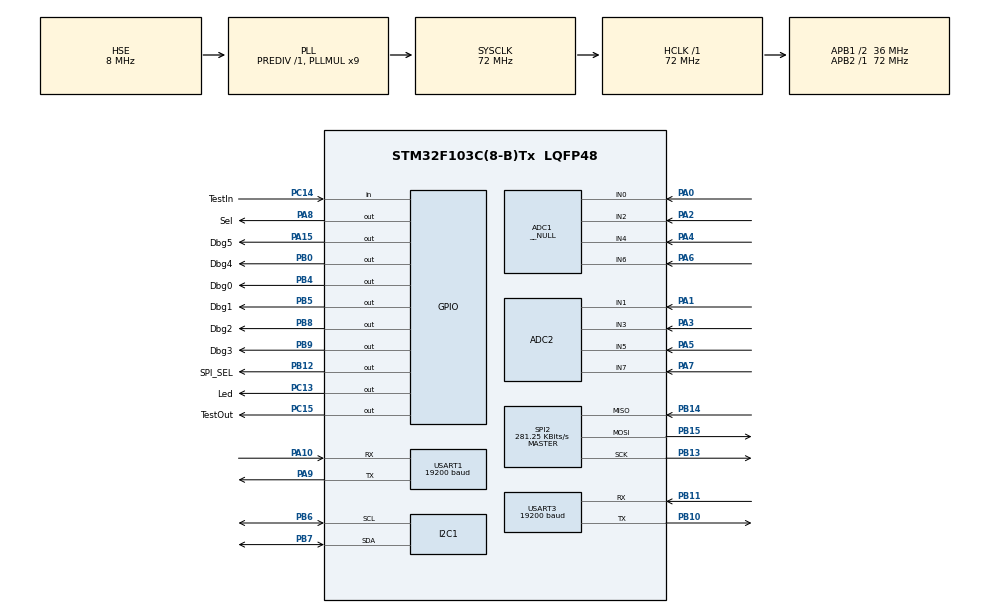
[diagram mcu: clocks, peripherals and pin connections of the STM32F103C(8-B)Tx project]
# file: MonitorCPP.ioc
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ADC1.Channel-4\#ChannelRegularConversion=ADC_CHANNEL_0
ADC1.DiscontinuousConvMode=DISABLE
ADC1.EnableRegularConversion=ENABLE
ADC1.Mode=__NULL
ADC1.NbrOfConversion=1
ADC1.Rank-4\#ChannelRegularConversion=1
ADC1.SamplingTime-4\#ChannelRegularConversion=ADC_SAMPLETIME_1CYCLE_5
ADC1.master=1
ADC2.Channel-4\#ChannelRegularConversion=ADC_CHANNEL_1
ADC2.DiscontinuousConvMode=DISABLE
ADC2.EnableRegularConversion=ENABLE
ADC2.NbrOfConversion=1
ADC2.Rank-4\#ChannelRegularConversion=1
ADC2.SamplingTime-4\#ChannelRegularConversion=ADC_SAMPLETIME_1CYCLE_5
Mcu.Family=STM32F1
Mcu.Name=STM32F103C(8-B)Tx
Mcu.Package=LQFP48
NVIC.ADC1_2_IRQn=true\:0\:0\:false\:false\:false\:true\:false\:true
NVIC.PriorityGroup=NVIC_PRIORITYGROUP_4
NVIC.RTC_IRQn=true\:1\:0\:true\:false\:false\:true\:false\:true
NVIC.TIM1_CC_IRQn=true\:0\:0\:false\:false\:false\:true\:false\:true
NVIC.TIM1_UP_IRQn=true\:5\:0\:true\:false\:false\:true\:false\:true
NVIC.USART3_IRQn=true\:3\:0\:true\:false\:false\:true\:false\:true
PA0-WKUP.Signal=ADCx_IN0
PA1.Signal=ADCx_IN1
PA10.Mode=Asynchronous
PA10.Signal=USART1_RX
PA11.Signal=USB_DM
PA12.Signal=USB_DP
PA13.Mode=Trace_Asynchronous_SW
PA13.Signal=SYS_JTMS-SWDIO
PA14.Mode=Trace_Asynchronous_SW
PA14.Signal=SYS_JTCK-SWCLK
PA15.GPIO_Label=Dbg5
PA15.Signal=GPIO_Output
PA2.Signal=ADCx_IN2
PA3.Signal=ADCx_IN3
PA4.Signal=ADCx_IN4
PA5.Signal=ADCx_IN5
PA6.Signal=ADCx_IN6
PA7.Signal=ADCx_IN7
PA8.GPIO_Label=Sel
PA8.Signal=GPIO_Output
PA9.Mode=Asynchronous
PA9.Signal=USART1_TX
PB0.GPIO_Label=Dbg4
PB0.GPIO_Speed=GPIO_SPEED_FREQ_MEDIUM
PB0.Signal=GPIO_Output
PB10.Mode=Asynchronous
PB10.Signal=USART3_TX
PB11.Mode=Asynchronous
PB11.Signal=USART3_RX
PB12.GPIO_Label=SPI_SEL
PB12.Signal=GPIO_Output
PB13.Mode=Full_Duplex_Master
PB13.Signal=SPI2_SCK
PB14.Mode=Full_Duplex_Master
PB14.Signal=SPI2_MISO
PB15.Mode=Full_Duplex_Master
PB15.Signal=SPI2_MOSI
PB3.Mode=Trace_Asynchronous_SW
PB3.Signal=SYS_JTDO-TRACESWO
PB4.GPIO_Label=Dbg0
PB4.Signal=GPIO_Output
PB5.GPIO_Label=Dbg1
PB5.Signal=GPIO_Output
PB6.GPIO_Pu=GPIO_PULLUP
PB6.Mode=I2C
PB6.Signal=I2C1_SCL
PB7.GPIO_Pu=GPIO_PULLUP
PB7.Mode=I2C
PB7.Signal=I2C1_SDA
PB8.GPIO_Label=Dbg2
PB8.GPIO_Speed=GPIO_SPEED_FREQ_MEDIUM
PB8.Signal=GPIO_Output
PB9.GPIO_Label=Dbg3
PB9.GPIO_Speed=GPIO_SPEED_FREQ_MEDIUM
PB9.Signal=GPIO_Output
PC13-TAMPER-RTC.GPIO_Label=Led
PC13-TAMPER-RTC.Signal=GPIO_Output
PC14-OSC32_IN.GPIO_Label=TestIn
PC14-OSC32_IN.Signal=GPIO_Input
PC15-OSC32_OUT.GPIO_Label=TestOut
PC15-OSC32_OUT.Signal=GPIO_Output
PD0-OSC_IN.Mode=HSE-External-Oscillator
PD0-OSC_IN.Signal=RCC_OSC_IN
PD1-OSC_OUT.Mode=HSE-External-Oscillator
PD1-OSC_OUT.Signal=RCC_OSC_OUT
ProjectManager.HeapSize=0x200
ProjectManager.StackSize=0x400
ProjectManager.TargetToolchain=STM32CubeIDE
RCC.ADCPresc=RCC_ADCPCLK2_DIV6
RCC.AHBFreq_Value=72000000
RCC.APB1CLKDivider=RCC_HCLK_DIV2
RCC.APB1Freq_Value=36000000
RCC.APB1TimFreq_Value=72000000
RCC.APB2Freq_Value=72000000
RCC.APB2TimFreq_Value=72000000
RCC.HCLKFreq_Value=72000000
RCC.PLLMUL=RCC_PLL_MUL9
RCC.PLLSourceVirtual=RCC_PLLSOURCE_HSE
RCC.RTCClockSelection=RCC_RTCCLKSOURCE_HSE_DIV128
RCC.SYSCLKFreq_VALUE=72000000
RCC.SYSCLKSource=RCC_SYSCLKSOURCE_PLLCLK
RCC.USBFreq_Value=72000000
RTC.Format=RTC_FORMAT_BIN
SH.ADCx_IN0.0=ADC1_IN0,IN0
SH.ADCx_IN1.0=ADC2_IN1,IN1
SH.ADCx_IN2.0=ADC1_IN2,IN2
SH.ADCx_IN3.0=ADC2_IN3,IN3
SH.ADCx_IN4.0=ADC1_IN4,IN4
SH.ADCx_IN5.0=ADC2_IN5,IN5
SH.ADCx_IN6.0=ADC1_IN6,IN6
SH.ADCx_IN7.0=ADC2_IN7,IN7
SPI2.BaudRatePrescaler=SPI_BAUDRATEPRESCALER_128
SPI2.CalculateBaudRate=281.25 KBits/s
SPI2.Direction=SPI_DIRECTION_2LINES
SPI2.Mode=SPI_MODE_MASTER
SPI2.VirtualType=VM_MASTER
TIM1.AutoReloadPreload=TIM_AUTORELOAD_PRELOAD_ENABLE
TIM1.Channel-Output\ Compare1\ No\ Output=TIM_CHANNEL_1
TIM1.OC1Preload=ENABLE
TIM1.OCMode_1=TIM_OCMODE_ACTIVE
TIM1.Period=59999
TIM1.Prescaler=1
USART1.BaudRate=19200
USART1.VirtualMode=VM_ASYNC
USART3.BaudRate=19200
USART3.VirtualMode=VM_ASYNC
VP_RTC_VS_RTC_Activate.Mode=RTC_Enabled
VP_RTC_VS_RTC_Calendar.Mode=RTC_Calendar
VP_TIM1_VS_ClockSourceINT.Mode=Internal
VP_TIM1_VS_no_output1.Mode=Output Compare1 No Output
board=Sync

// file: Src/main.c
/* USER CODE BEGIN Header */
/**
  ******************************************************************************
  * @file           : main.c
  * @brief          : Main program body
  ******************************************************************************
  ** This notice applies to any and all portions of this file
  * that are not between comment pairs USER CODE BEGIN and
  * USER CODE END. Other portions of this file, whether
  * inserted by the user or by software development tools
  * are owned by their respective copyright owners.
  *
  * COPYRIGHT(c) 2018 STMicroelectronics
  *
  * Redistribution and use in source and binary forms, with or without modification,
  * are permitted provided that the following conditions are met:
  *   1. Redistributions of source code must retain the above copyright notice,
  *      this list of conditions and the following disclaimer.
  *   2. Redistributions in binary form must reproduce the above copyright notice,
  *      this list of conditions and the following disclaimer in the documentation
  *      and/or other materials provided with the distribution.
  *   3. Neither the name of STMicroelectronics nor the names of its contributors
  *      may be used to endorse or promote products derived from this software
  *      without specific prior written permission.
  *
  * THIS SOFTWARE IS PROVIDED BY THE COPYRIGHT HOLDERS AND CONTRIBUTORS "AS IS"
  * AND ANY EXPRESS OR IMPLIED WARRANTIES, INCLUDING, BUT NOT LIMITED TO, THE
  * IMPLIED WARRANTIES OF MERCHANTABILITY AND FITNESS FOR A PARTICULAR PURPOSE ARE
  * DISCLAIMED. IN NO EVENT SHALL THE COPYRIGHT HOLDER OR CONTRIBUTORS BE LIABLE
  * FOR ANY DIRECT, INDIRECT, INCIDENTAL, SPECIAL, EXEMPLARY, OR CONSEQUENTIAL
  * DAMAGES (INCLUDING, BUT NOT LIMITED TO, PROCUREMENT OF SUBSTITUTE GOODS OR
  * SERVICES; LOSS OF USE, DATA, OR PROFITS; OR BUSINESS INTERRUPTION) HOWEVER
  * CAUSED AND ON ANY THEORY OF LIABILITY, WHETHER IN CONTRACT, STRICT LIABILITY,
  * OR TORT (INCLUDING NEGLIGENCE OR OTHERWISE) ARISING IN ANY WAY OUT OF THE USE
  * OF THIS SOFTWARE, EVEN IF ADVISED OF THE POSSIBILITY OF SUCH DAMAGE.
  *
  ******************************************************************************
  */
/* USER CODE END Header */
#include "main.h"
#include "adc.h"
#include "i2c.h"
#include "rtc.h"
#include "spi.h"
#include "tim.h"
#include "usart.h"
#include "gpio.h"

/* USER CODE BEGIN Includes */
#include <stdio.h>
/* USER CODE END Includes */

/* USER CODE BEGIN PV */
/* Private variables ---------------------------------------------------------*/

/* USER CODE END PV */

void SystemClock_Config(void);

/* USER CODE BEGIN 0 */

void monitorLoop(void);

#include <sys/types.h>

void _init(void);
caddr_t _sbrk(int incr);
void _close(void);
void _lseek(void);
int _isatty(void);
void _read(void);
int _fstat(void);

ssize_t _write (int fd, const char* buf, size_t nbyte);

/* USER CODE END 0 */

int main(void)
{

  /* MCU Configuration--------------------------------------------------------*/

  /* Reset of all peripherals, Initializes the Flash interface and the Systick. */
  HAL_Init();

  /* Configure the system clock */
  SystemClock_Config();

  /* Initialize all configured peripherals */
  MX_GPIO_Init();
  MX_USART1_UART_Init();
  MX_USART3_UART_Init();
  MX_ADC1_Init();
  MX_ADC2_Init();
  MX_TIM1_Init();
  MX_RTC_Init();
  MX_I2C1_Init();
  MX_SPI2_Init();
  /* USER CODE BEGIN 2 */

  monitorLoop();

  /* USER CODE END 2 */

  /* Infinite loop */
  while (1)
  {

  }
}

void SystemClock_Config(void)
{
  RCC_OscInitTypeDef RCC_OscInitStruct = {0};
  RCC_ClkInitTypeDef RCC_ClkInitStruct = {0};
  RCC_PeriphCLKInitTypeDef PeriphClkInit = {0};

  /** Initializes the RCC Oscillators according to the specified parameters
  * in the RCC_OscInitTypeDef structure.
  */
  RCC_OscInitStruct.OscillatorType = RCC_OSCILLATORTYPE_HSE;
  RCC_OscInitStruct.HSEState = RCC_HSE_ON;
  RCC_OscInitStruct.HSEPredivValue = RCC_HSE_PREDIV_DIV1;
  RCC_OscInitStruct.HSIState = RCC_HSI_ON;
  RCC_OscInitStruct.PLL.PLLState = RCC_PLL_ON;
  RCC_OscInitStruct.PLL.PLLSource = RCC_PLLSOURCE_HSE;
  RCC_OscInitStruct.PLL.PLLMUL = RCC_PLL_MUL9;
  if (HAL_RCC_OscConfig(&RCC_OscInitStruct) != HAL_OK)
  {
    Error_Handler();
  }

  /** Initializes the CPU, AHB and APB buses clocks
  */
  RCC_ClkInitStruct.ClockType = RCC_CLOCKTYPE_HCLK|RCC_CLOCKTYPE_SYSCLK
                              |RCC_CLOCKTYPE_PCLK1|RCC_CLOCKTYPE_PCLK2;
  RCC_ClkInitStruct.SYSCLKSource = RCC_SYSCLKSOURCE_PLLCLK;
  RCC_ClkInitStruct.AHBCLKDivider = RCC_SYSCLK_DIV1;
  RCC_ClkInitStruct.APB1CLKDivider = RCC_HCLK_DIV2;
  RCC_ClkInitStruct.APB2CLKDivider = RCC_HCLK_DIV1;

  if (HAL_RCC_ClockConfig(&RCC_ClkInitStruct, FLASH_LATENCY_2) != HAL_OK)
  {
    Error_Handler();
  }
  PeriphClkInit.PeriphClockSelection = RCC_PERIPHCLK_RTC|RCC_PERIPHCLK_ADC;
  PeriphClkInit.RTCClockSelection = RCC_RTCCLKSOURCE_HSE_DIV128;
  PeriphClkInit.AdcClockSelection = RCC_ADCPCLK2_DIV6;
  if (HAL_RCCEx_PeriphCLKConfig(&PeriphClkInit) != HAL_OK)
  {
    Error_Handler();
  }
}

/* USER CODE BEGIN 4 */

#if 0

void _kill(void);
void _getpid(void);

void _init(void)
{
}

caddr_t _sbrk(int incr)
{
 extern char _end;		/* Defined by the linker */
 static char *heap_end;
 char *prev_heap_end;
 char *sp = (char *)&sp;

 if (heap_end == 0)
 {
  heap_end = &_end;
 }
 prev_heap_end = heap_end;
 heap_end += incr;
 if (heap_end > sp)
 {
  _write (1, "Heap and stack collision\n", 25);
//  errno = ENOMEM;
  return (caddr_t)-1;
 }
 return (caddr_t) prev_heap_end;
}

void _close(void)
{
}

int _fstat(void)
{
 return(0);
}

int _isatty(void)
{
 return(1);
}

void _lseek(void)
{
}

void _read(void)
{
}

void _kill(void)
{
}

void _getpid(void)
{
}

#endif

/* USER CODE END 4 */

void Error_Handler(void)
{
  while(1)
  {
  }
}

#ifdef  USE_FULL_ASSERT
/**
  * @brief  Reports the name of the source file and the source line number
  *         where the assert_param error has occurred.
  * @param  file: pointer to the source file name
  * @param  line: assert_param error line source number
  * @retval None
  */
void assert_failed(uint8_t *file, uint32_t line)
{
  /* USER CODE BEGIN 6 */
 printf("assert_failed %s line %ld\n", file, line);
  /* User can add his own implementation to report the file name and line number,
     tex: printf("Wrong parameters value: file %s on line %d\r\n", file, line) */
  /* USER CODE END 6 */
}
#endif /* USE_FULL_ASSERT */
